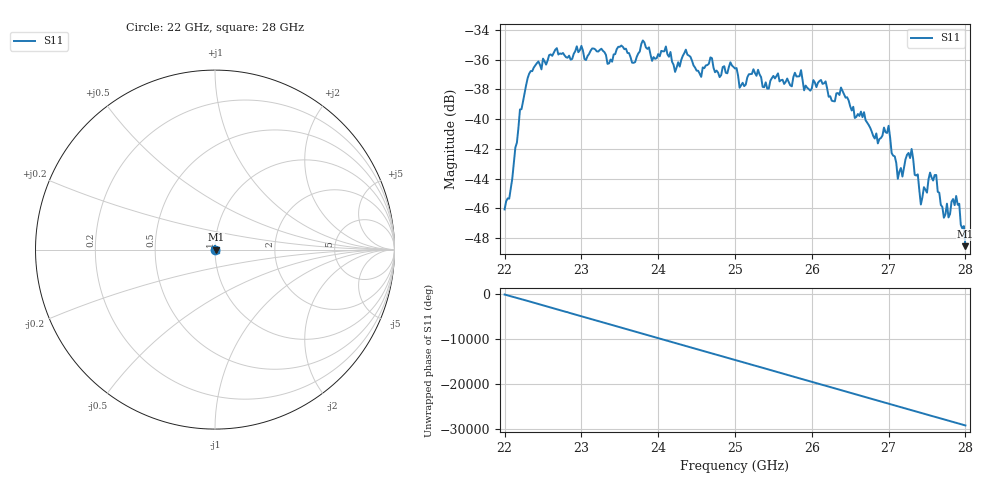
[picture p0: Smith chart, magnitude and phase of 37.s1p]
#  HZ  S  RI  R  50.00
! Rohde & Schwarz ZVA40 4Ports - Version 3.90 - 1145.1110k42 SN: 100403
! Date: 2023-10-04 10:37:49
! Measurement: S12
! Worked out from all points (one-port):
!   301 points, 22 GHz to 28 GHz, reference 50 ohm
!   lowest |S11| = -48.5 dB at 28 GHz (marker M1), VSWR 1.01, Z = 50.4 + j0.0367 ohm
!   |S11| at or under -10 dB: start of sweep to end of sweep
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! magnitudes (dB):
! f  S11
! 22 GHz  -46.1
! 22.06 GHz  -45.3
! 22.2 GHz  -39.3
! 22.32 GHz  -36.9
! 22.76 GHz  -35.5
! 23.34 GHz  -36.3
! 23.5 GHz  -35.1
! 24.26 GHz  -36.2
! 25 GHz  -36.6
! 25.06 GHz  -37.9
! 25.24 GHz  -36.6
! 25.42 GHz  -37.9
! 25.76 GHz  -37.2
! 26.18 GHz  -37.5
! 26.28 GHz  -38.8
! 26.38 GHz  -37.9
! 26.5 GHz  -39.1
! 26.86 GHz  -41.6
! 27 GHz  -40.4
! 27.12 GHz  -44.0
! 27.26 GHz  -42.3
! 27.38 GHz  -43.7
! 27.42 GHz  -45.7
! 27.54 GHz  -43.6
! 27.62 GHz  -43.8
! 27.72 GHz  -46.6
! 27.88 GHz  -45.2
! 28 GHz  -48.5
